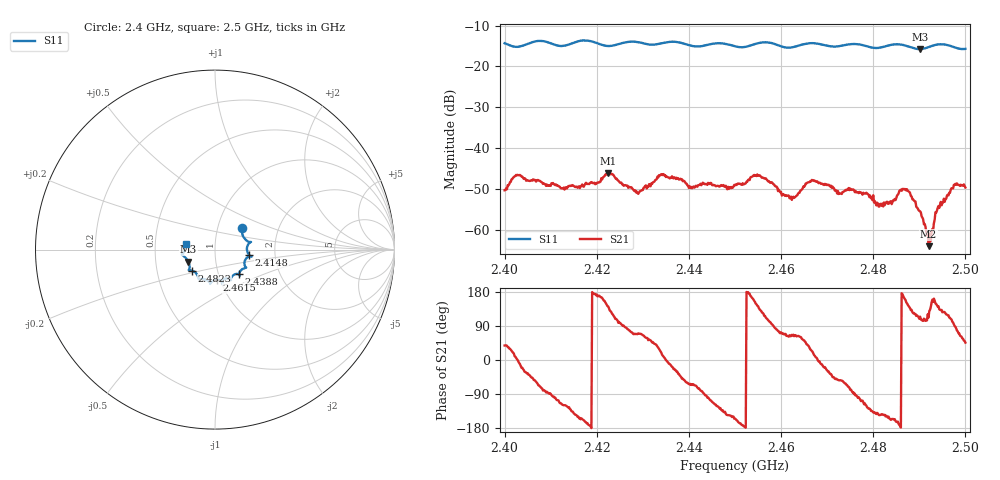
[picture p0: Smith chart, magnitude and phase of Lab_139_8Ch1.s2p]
# Hz S RI R 50
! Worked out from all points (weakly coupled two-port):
!   601 points, 2.4 GHz to 2.5 GHz, reference 50 ohm
!   highest |S21| = -46.00 dB at 2.4225 GHz (marker M1); lowest = -63.8 dB at 2.492 GHz (marker M2)
!   lowest |S11| = -15.8 dB at 2.4902 GHz (marker M3), VSWR 1.39, Z = 36.8 - j5.05 ohm
!   |S11| at or under -10 dB: start of sweep to end of sweep
!   S12 and S22 are empty: the file has one direction only
!   S11 on the Smith chart (normalised r, x): 2.4 GHz: 1.31, +0.32; 2.4148 GHz: 1.47, -0.10; 2.4388 GHz: 1.25, -0.36; 2.4615 GHz: 0.97, -0.34; 2.4823 GHz: 0.75, -0.18; 2.5 GHz: 0.72, +0.04
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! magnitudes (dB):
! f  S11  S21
! 2.4 GHz  -14.3  -50.2
! 2.403 GHz  -15.2  -46.6
! 2.4148 GHz  -14.3  -49.0
! 2.4167 GHz  -13.7  -49.1
! 2.4225 GHz  -15.0  -46.0
! 2.429 GHz  -14.1  -51.1
! 2.4333 GHz  -14.5  -47.1
! 2.4388 GHz  -14.4  -47.9
! 2.4405 GHz  -14.9  -49.4
! 2.45 GHz  -15.1  -49.0
! 2.455 GHz  -14.3  -46.6
! 2.4615 GHz  -15.4  -51.5
! 2.4667 GHz  -14.3  -47.7
! 2.4823 GHz  -15.2  -53.2
! 2.4833 GHz  -14.9  -53.5
! 2.4868 GHz  -14.9  -50.0
! 2.4902 GHz  -15.8  -55.3
! 2.492 GHz  -15.3  -63.8
! 2.4925 GHz  -15.1  -62.5
! 2.494 GHz  -14.6  -54.5
! 2.4973 GHz  -15.2  -49.7
! 2.5 GHz  -15.7  -49.5
